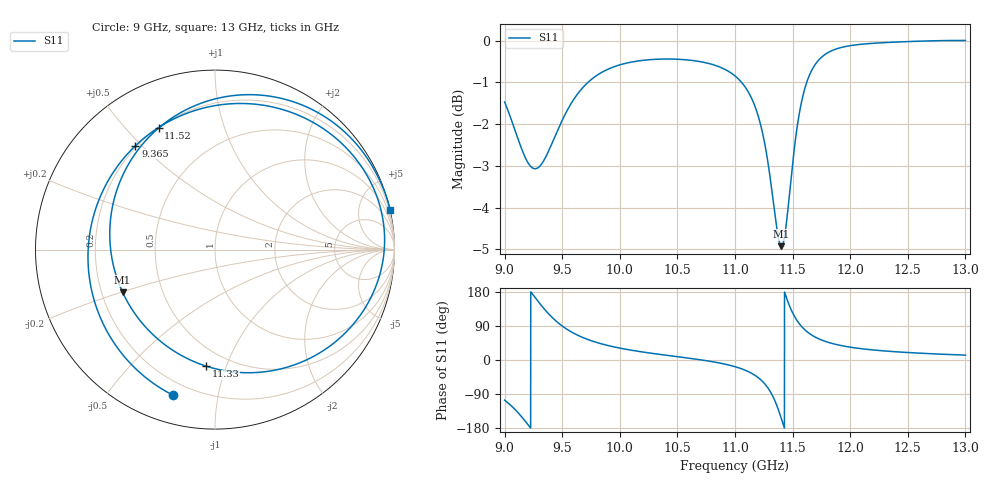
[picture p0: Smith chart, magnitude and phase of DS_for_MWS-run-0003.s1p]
! TOUCHSTONE file generated by CST DESIGN STUDIO
! Date and time: Tue Feb  4 16:19:22 2025
! Project name: C:\Work\MatlabApps\UnitCellOptimizationMatlab\CST\unitcell.cst
! Tree item: Tasks\Sweep1\SPara1\S-Parameters
! Header version: 2024
! Port assignment regex: !\s*Touchstone port\s*([0-9]+)\s*=\s*(CST MWS port|CST DES external port|CST DES block port)\s*(.+)\s* \(\"(.*)\"\)(\s*mode\s*([0-9]+))?.*
! Touchstone port assignment:
! Touchstone port 1 = CST DES external port 1 ("")
# GHz S MA R 50
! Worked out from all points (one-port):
!   4001 points, 9 GHz to 13 GHz, reference 50 ohm
!   lowest |S11| = -4.9 dB at 11.4 GHz (marker M1), VSWR 3.62, Z = 14.4 - j10.1 ohm
!   |S11| at or under -10 dB: nowhere
!   S11 on the Smith chart (normalised r, x): 9 GHz: 0.13, -0.75; 9.365 GHz: 0.19, +0.48; 11.33 GHz: 0.38, -0.85; 11.52 GHz: 0.20, +0.62; 13 GHz: -0.02, +8.86
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9  0.8445 -105.9
9.093  0.779 -131.4
9.199  0.7155 -169.0
9.276  0.7027 160.4
9.365  0.7291 127.4
9.43  0.7637 107.3
9.5  0.8029 89.7
9.608  0.8536 69.4
9.72  0.8904 54.4
10  0.9355 31.4
10.5  0.9501 8.8
10.799  0.9369 -4.2
11  0.9074 -17.6
11.108  0.8716 -29.6
11.191  0.821 -44.2
11.259  0.7515 -63.2
11.326  0.6514 -94.3
11.364  0.5942 -120.8
11.403  0.5671 -155.1
11.449  0.609 162.3
11.5  0.7121 124.6
11.517  0.7467 114.8
11.591  0.8607 84.2
11.708  0.9413 58.6
11.83  0.9713 44.7
12  0.9864 33.9
12.5  0.9976 19.7
13  1.001 12.9
